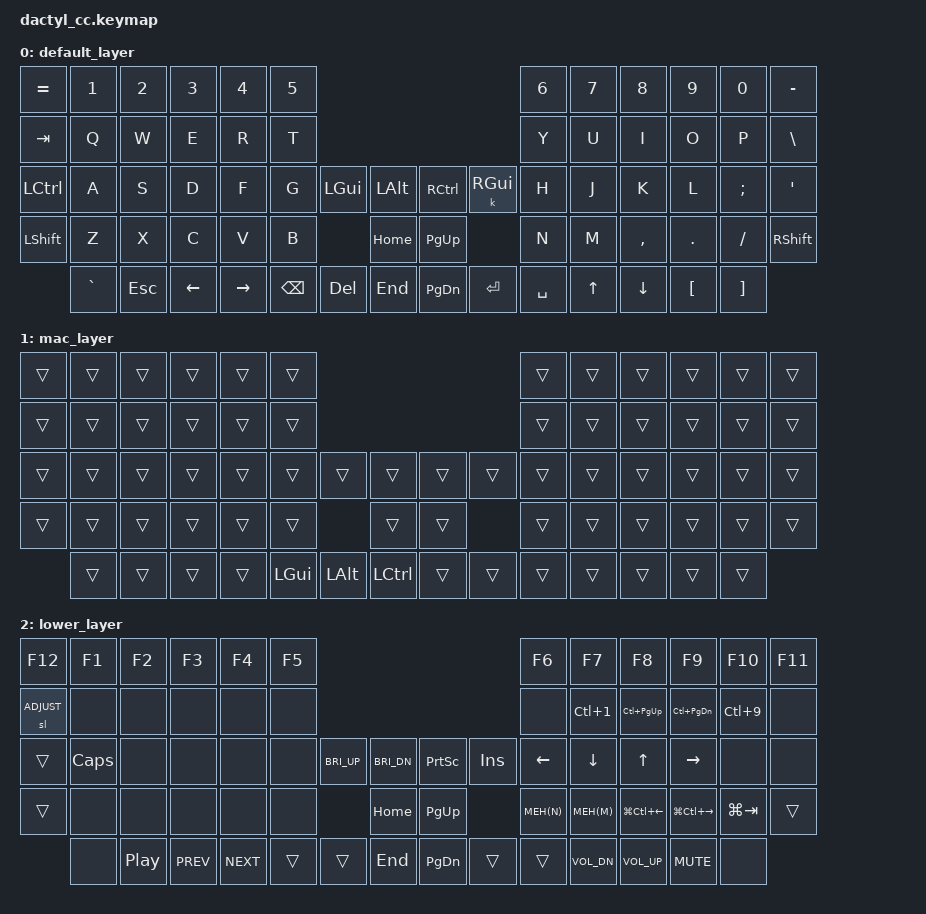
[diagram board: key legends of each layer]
#include <behaviors.dtsi>
#include <dt-bindings/zmk/keys.h>
#include <dt-bindings/zmk/bt.h>
#include <dt-bindings/zmk/outputs.h>

#define DEFAULT 0
#define MAC     1
#define LOWER   2
#define RAISE   3
#define ADJUST  4

#define HYPER(key) LS(LC(LA(LG(key))))
#define MEH(key)   LS(LC(LA(key)))

&sl {
    release-after-ms = <5000>;
};

&kscan0 {
    debounce-press-ms = <30>;
    debounce-release-ms = <30>;
};

/ {
    keymap {
        compatible = "zmk,keymap";

        default_layer {
            bindings = <
    &kp EQUAL &kp N1    &kp N2   &kp N3    &kp N4    &kp N5                                                                  &kp N6    &kp N7    &kp N8    &kp N9    &kp N0   &kp MINUS
    &kp TAB   &kp Q     &kp W    &kp E     &kp R     &kp T                                                                   &kp Y     &kp U     &kp I     &kp O     &kp P    &kp BSLH
    &kp LCTRL &kp A     &kp S    &kp D     &kp F     &kp G              &kp LGUI &kp LALT    &kp RCTRL  &k RGUI              &kp H     &kp J     &kp K     &kp L     &kp SEMI &kp SQT
    &kp LSHFT &kp Z     &kp X    &kp C     &kp V     &kp B                       &kp HOME    &kp PG_UP                       &kp N     &kp M     &kp COMMA &kp DOT   &kp FSLH &kp RSHFT
              &kp GRAVE &kp ESC &kp LEFT  &kp RIGHT           &kp BSPC  &kp DEL  &kp END     &kp PG_DN  &kp RET  &kp SPACE             &kp UP    &kp DOWN  &kp LBKT  &kp RBKT

            >;
        };

        mac_layer {
            bindings = <
    &trans   &trans     &trans     &trans     &trans     &trans                                                             &trans     &trans    &trans    &trans    &trans   &trans  
    &trans   &trans     &trans     &trans     &trans     &trans                                                             &trans     &trans    &trans    &trans    &trans   &trans  
    &trans   &trans     &trans     &trans     &trans     &trans             &trans  &trans     &trans  &trans               &trans     &trans    &trans    &trans    &trans   &trans  
    &trans   &trans     &trans     &trans     &trans     &trans                     &trans     &trans                       &trans     &trans    &trans    &trans    &trans   &trans  
             &trans     &trans     &trans     &trans            &kp LGUI &kp LALT  &kp LCTRL   &trans  &trans  &trans                  &trans    &trans    &trans    &trans 
                                                             
            >;
        };

        lower_layer {
            bindings = <
    &kp F12    &kp F1    &kp F2   &kp F3     &kp F4    &kp F5                                                             &kp F6        &kp F7       &kp F8           &kp F9            &kp F10     &kp F11
    &sl ADJUST &none     &none    &none      &none     &none                                                              &none         &kp LC(1)    &kp LC(PG_UP)    &kp LC(PG_DN)     &kp LC(9)   &none 
    &trans     &kp CAPS  &none    &none      &none     &none         &kp C_BRI_UP &kp C_BRI_DN  &kp PSCRN &kp INS         &kp LEFT      &kp DOWN     &kp UP           &kp RIGHT         &none       &none 
    &trans     &none     &none    &none      &none     &none                      &kp HOME      &kp PG_UP                 &kp MEH(N)    &kp MEH(M)   &kp LG(LC(LEFT)) &kp LG(LC(RIGHT)) &kp LG(TAB) &trans 
               &none     &kp C_PP &kp C_PREV &kp C_NEXT       &trans &trans       &kp END       &kp PG_DN &trans   &trans               &kp C_VOL_DN &kp C_VOL_UP     &kp C_MUTE        &none 
            >;
        };
        
    };
};
